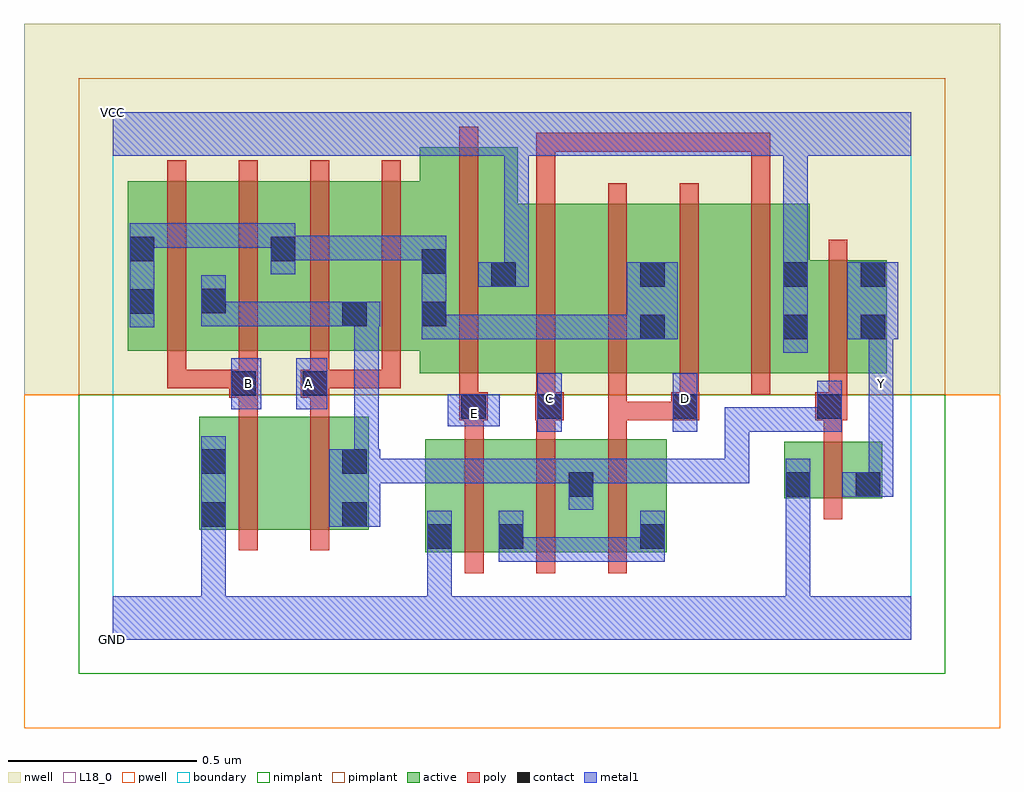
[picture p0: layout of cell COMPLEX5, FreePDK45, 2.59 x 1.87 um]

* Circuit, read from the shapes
.subckt COMPLEX5 A B C D E GND VCC Y
M1 n1 B GND VSUBS nfet w=0.3u l=0.05u
M2 n2 A n1 VSUBS nfet w=0.3u l=0.05u
M3 n3 E GND VSUBS nfet w=0.3u l=0.05u
M4 n2 C n3 VSUBS nfet w=0.3u l=0.05u
M5 n3 D n2 VSUBS nfet w=0.3u l=0.05u
M6 Y n2 GND VSUBS nfet w=0.15u l=0.05u
M7 n2 B n4 n5 pfet w=0.45u l=0.05u m=2
M8 n2 A n4 n5 pfet w=0.45u l=0.05u m=2
M9 VCC E n4 n5 pfet w=0.6u l=0.05u
M10 n6 C VCC n5 pfet w=0.45u l=0.05u
M11 n4 D n6 n5 pfet w=0.45u l=0.05u
M12 n7 D n4 n5 pfet w=0.45u l=0.05u
M13 VCC C n7 n5 pfet w=0.45u l=0.05u
M14 Y n2 VCC n5 pfet w=0.3u l=0.05u
.ends

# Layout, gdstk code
import gdstk
lib = gdstk.Library(unit=1e-6, precision=1e-09)
def R(c, l, rs):  # rectangles x0, y0, x1, y1
    for r in rs: c.add(gdstk.rectangle(r[:2], r[2:], *l))
def A(c, l, x, y, w, h, nx, ny, dx, dy):  # array of equal rectangles
    R(c, l, [(x+i*dx, y+j*dy, x+i*dx+w, y+j*dy+h) for i in range(nx) for j in range(ny)])
active = (1, 0)
pwell = (2, 0)
nwell = (3, 0)
nimplant = (4, 0)
pimplant = (5, 0)
poly = (9, 0)
contact = (10, 0)
metal1 = (11, 0)
L18_0 = (18, 0)
boundary = (235, 0)

complex5 = lib.new_cell('COMPLEX5')
R(complex5, active, [(0.83,0.232,0.905,0.532), (0.83,0.232,1.095,0.532), (1.02,0.232,1.28,0.532), (1.02,0.232,1.095,0.397), (1.205,0.232,1.47,0.532), (1.395,0.232,1.47,0.532), (0.23,0.292,0.305,0.592), (0.23,0.292,0.455,0.592), (0.455,0.292,0.68,0.592), (0.605,0.295,0.68,0.592), (1.205,0.295,1.28,0.45), (1.782,0.375,1.857,0.525), (1.782,0.375,2.042,0.525), (1.967,0.375,2.042,0.525), (0.815,0.707,1.075,1.307), (1,0.707,1.245,1.157), (1.245,0.707,1.47,1.157), (1.395,0.707,1.625,1.157), (1.625,0.707,1.85,1.157), (1.775,0.707,2.055,1.007), (1.98,0.707,2.055,1.007), (1.395,0.732,1.47,1.155), (1,0.742,1.075,1.197), (0.04,0.767,0.305,1.217), (0.04,0.767,0.115,1.155), (0.23,0.767,0.305,1.07), (0.23,0.767,0.49,1.217), (0.415,0.767,0.68,1.217), (0.605,0.767,0.89,1.217), (0.605,0.767,0.68,1.07), (0.815,0.767,0.89,1.2), (1.775,0.792,1.85,1.157), (0.415,0.857,0.49,1.155)])
R(complex5, pwell, [(-0.235,-0.235,2.355,0.65)])
R(complex5, nwell, [(-0.235,0.65,2.355,1.635)])
R(complex5, nimplant, [(-0.09,-0.09,2.21,0.65)])
R(complex5, pimplant, [(-0.09,0.65,2.21,1.49)])
A(complex5, poly, 0.935, 0.177, 0.05, 0.41, 3, 1, 0.19, 0)
A(complex5, poly, 0.935, 0.537, 0.05, 0.095, 3, 1, 0.19, 0)
A(complex5, poly, 1.125, 0.652, 0.05, 0.56, 4, 1, 0.19, 0)
A(complex5, poly, 0.145, 0.667, 0.05, 0.095, 4, 1, 0.19, 0)
A(complex5, poly, 0.145, 0.712, 0.05, 0.56, 4, 1, 0.19, 0)
R(complex5, poly, [(0.335,0.237,0.385,0.647), (0.525,0.237,0.575,0.647), (1.887,0.32,1.937,0.58), (1.887,0.53,1.937,0.632), (0.92,0.582,0.995,0.657), (1.122,0.582,1.197,0.657), (1.315,0.582,1.365,0.632), (1.315,0.582,1.532,0.632), (1.315,0.582,1.365,0.702), (1.482,0.582,1.532,0.632), (1.482,0.582,1.532,0.632), (1.482,0.582,1.557,0.657), (1.865,0.582,1.95,0.657), (0.335,0.597,0.385,0.692), (0.525,0.597,0.575,0.692), (0.92,0.607,0.97,0.702), (1.125,0.607,1.175,0.702), (1.505,0.607,1.555,0.702), (1.9,0.607,1.95,0.702), (0.31,0.642,0.385,0.717), (0.5,0.642,0.575,0.717), (0.92,0.652,0.97,1.362), (1.9,0.652,1.95,1.062), (0.145,0.667,0.195,0.717), (0.145,0.667,0.195,0.717), (0.145,0.667,0.195,0.717), (0.145,0.667,0.36,0.717), (0.525,0.667,0.575,0.717), (0.525,0.667,0.575,0.717), (0.525,0.667,0.765,0.717), (0.715,0.667,0.765,0.717), (1.125,1.162,1.175,1.345), (1.695,1.162,1.745,1.345), (1.125,1.295,1.175,1.345), (1.125,1.295,1.175,1.345), (1.125,1.295,1.175,1.345), (1.125,1.295,1.365,1.345), (1.315,1.295,1.365,1.345), (1.315,1.295,1.497,1.345), (1.447,1.295,1.497,1.345), (1.447,1.295,1.497,1.345), (1.447,1.295,1.497,1.345), (1.447,1.295,1.745,1.345), (1.695,1.295,1.745,1.345), (1.695,1.295,1.745,1.345), (1.695,1.295,1.745,1.345)])
R(complex5, contact, [(0.835,0.242,0.9,0.307), (1.025,0.242,1.09,0.307), (1.4,0.242,1.465,0.307), (0.235,0.3,0.3,0.365), (0.61,0.3,0.675,0.365), (1.21,0.38,1.275,0.445), (1.787,0.38,1.852,0.445), (1.972,0.38,2.037,0.445), (0.235,0.44,0.3,0.505), (0.61,0.44,0.675,0.505), (0.925,0.587,0.99,0.652), (1.127,0.587,1.192,0.652), (1.487,0.587,1.552,0.652), (1.87,0.587,1.935,0.652), (0.315,0.647,0.38,0.712), (0.505,0.647,0.57,0.712), (1.4,0.797,1.465,0.862), (1.78,0.797,1.845,0.862), (1.985,0.797,2.05,0.862), (0.61,0.832,0.675,0.897), (0.82,0.832,0.885,0.897), (0.045,0.865,0.11,0.93), (0.235,0.867,0.3,0.932), (1.005,0.937,1.07,1.002), (1.4,0.937,1.465,1.002), (1.78,0.937,1.845,1.002), (1.985,0.937,2.05,1.002), (0.82,0.972,0.885,1.037), (0.045,1.005,0.11,1.07), (0.42,1.005,0.485,1.07)])
R(complex5, metal1, [(0,0,2.12,0.115), (0.235,0.05,0.3,0.115), (0.235,0.05,0.3,0.115), (0.235,0.05,0.3,0.115), (0.235,0.05,0.3,0.115), (0.235,0.05,0.3,0.33), (0.835,0.05,0.9,0.115), (0.835,0.05,0.9,0.115), (0.835,0.05,0.9,0.122), (1.787,0.05,1.852,0.115), (1.787,0.05,1.852,0.115), (1.787,0.05,1.852,0.115), (1.787,0.05,1.852,0.115), (1.787,0.05,1.852,0.41), (0.835,0.057,0.9,0.122), (0.835,0.057,0.9,0.272), (0.835,0.207,0.9,0.342), (1.025,0.207,1.09,0.342), (1.025,0.207,1.09,0.272), (1.025,0.207,1.09,0.272), (1.025,0.207,1.227,0.272), (1.162,0.207,1.227,0.272), (1.162,0.207,1.227,0.272), (1.162,0.207,1.227,0.272), (1.162,0.207,1.465,0.272), (1.4,0.207,1.465,0.342), (0.235,0.265,0.3,0.54), (0.575,0.3,0.71,0.505), (1.21,0.345,1.275,0.48), (1.787,0.345,1.852,0.48), (1.787,0.345,1.852,0.41), (1.787,0.345,1.852,0.41), (1.937,0.38,2.072,0.445), (2.007,0.38,2.072,0.677), (0.645,0.415,0.71,0.48), (0.645,0.415,0.71,0.48), (0.645,0.415,0.885,0.48), (0.82,0.415,0.885,0.48), (0.82,0.415,0.885,0.48), (0.82,0.415,0.885,0.48), (0.82,0.415,1.09,0.48), (1.025,0.415,1.09,0.48), (1.025,0.415,1.09,0.48), (1.025,0.415,1.09,0.48), (1.025,0.415,1.275,0.48), (1.21,0.415,1.412,0.48), (1.347,0.415,1.412,0.48), (1.347,0.415,1.412,0.48), (1.347,0.415,1.412,0.48), (1.347,0.415,1.55,0.48), (1.485,0.415,1.55,0.48), (1.485,0.415,1.69,0.48), (1.625,0.415,1.69,0.48), (1.625,0.415,1.69,0.617), (0.642,0.44,0.707,0.505), (0.642,0.44,0.707,0.505), (0.642,0.44,0.707,0.897), (1.127,0.552,1.192,0.707), (1.487,0.552,1.552,0.707), (1.625,0.552,1.69,0.617), (1.625,0.552,1.69,0.617), (1.625,0.552,1.69,0.617), (1.625,0.552,1.827,0.617), (1.762,0.552,1.935,0.617), (1.762,0.552,1.827,0.617), (1.87,0.552,1.935,0.687), (0.89,0.567,1.027,0.652), (0.315,0.612,0.395,0.747), (0.487,0.612,0.57,0.747), (2.007,0.612,2.072,0.747), (2.007,0.682,2.072,0.862), (1.78,0.762,1.845,1.037), (0.82,0.797,0.885,0.862), (0.82,0.797,0.885,0.862), (0.82,0.797,0.885,0.862), (0.82,0.797,0.885,0.862), (0.82,0.797,0.885,1.072), (0.82,0.797,1.09,0.862), (1.025,0.797,1.09,0.862), (1.025,0.797,1.09,0.862), (1.025,0.797,1.09,0.862), (1.025,0.797,1.227,0.862), (1.162,0.797,1.227,0.862), (1.162,0.797,1.227,0.862), (1.162,0.797,1.227,0.862), (1.162,0.797,1.43,0.862), (1.365,0.797,1.5,1.002), (1.95,0.797,2.085,1.002), (0.045,0.83,0.11,1.105), (0.235,0.832,0.3,0.967), (0.235,0.832,0.3,0.897), (0.235,0.832,0.3,0.897), (0.235,0.832,0.502,0.897), (0.437,0.832,0.502,0.897), (0.437,0.832,0.502,0.897), (0.437,0.832,0.502,0.897), (0.437,0.832,0.64,0.897), (0.575,0.832,0.71,0.897), (0.97,0.937,1.105,1.002), (1.04,0.937,1.105,1.35), (0.42,0.97,0.485,1.105), (1.78,0.972,1.845,1.35), (0.42,1.007,0.485,1.072), (0.42,1.007,0.485,1.072), (0.42,1.007,0.747,1.072), (0.682,1.007,0.747,1.072), (0.682,1.007,0.747,1.072), (0.682,1.007,0.747,1.072), (0.682,1.007,0.885,1.072), (0.045,1.04,0.11,1.105), (0.045,1.04,0.11,1.105), (0.045,1.04,0.347,1.105), (0.282,1.04,0.347,1.105), (0.282,1.04,0.347,1.105), (0.282,1.04,0.347,1.105), (0.282,1.04,0.485,1.105), (0,1.285,2.12,1.4), (1.78,1.285,1.845,1.35), (1.78,1.285,1.845,1.35)])
R(complex5, L18_0, [(0,0,2.12,0.115), (0.235,0.05,0.3,0.115), (0.235,0.05,0.3,0.115), (0.235,0.05,0.3,0.115), (0.235,0.05,0.3,0.115), (0.235,0.05,0.3,0.33), (0.835,0.05,0.9,0.115), (0.835,0.05,0.9,0.115), (0.835,0.05,0.9,0.122), (1.787,0.05,1.852,0.115), (1.787,0.05,1.852,0.115), (1.787,0.05,1.852,0.115), (1.787,0.05,1.852,0.115), (1.787,0.05,1.852,0.41), (0.835,0.057,0.9,0.122), (0.835,0.057,0.9,0.272), (0.835,0.207,0.9,0.342), (0.235,0.265,0.3,0.54), (1.787,0.345,1.852,0.41), (1.787,0.345,1.852,0.41), (1.787,0.345,1.852,0.48), (1.937,0.38,2.072,0.445), (2.007,0.38,2.072,0.677), (1.127,0.552,1.192,0.707), (1.487,0.552,1.552,0.707), (0.89,0.567,1.027,0.652), (0.927,0.567,0.992,0.632), (1.127,0.607,1.192,0.672), (1.487,0.607,1.552,0.672), (0.315,0.612,0.395,0.747), (0.487,0.612,0.57,0.747), (2.007,0.612,2.072,0.747), (0.327,0.647,0.392,0.712), (0.487,0.647,0.552,0.712), (2.007,0.647,2.072,0.712), (2.007,0.682,2.072,0.862), (1.78,0.762,1.845,1.037), (1.95,0.797,2.085,1.002), (0.97,0.937,1.105,1.002), (1.04,0.937,1.105,1.35), (1.78,0.972,1.845,1.35), (0,1.285,2.12,1.4), (1.78,1.285,1.845,1.35), (1.78,1.285,1.845,1.35)])
R(complex5, boundary, [(0,0,2.12,1.4)])
complex5.add(gdstk.Label('A', (0.52,0.68), layer=11, texttype=0))
complex5.add(gdstk.Label('B', (0.36,0.68), layer=11, texttype=0))
complex5.add(gdstk.Label('C', (1.16,0.64), layer=11, texttype=0))
complex5.add(gdstk.Label('D', (1.52,0.64), layer=11, texttype=0))
complex5.add(gdstk.Label('E', (0.96,0.6), layer=11, texttype=0))
complex5.add(gdstk.Label('Y', (2.04,0.68), layer=11, texttype=0))
complex5.add(gdstk.Label('VCC', (0,1.4), layer=11, texttype=0))
complex5.add(gdstk.Label('GND', (0,0), layer=11, texttype=0))

lib.write_gds('COMPLEX5.gds')
